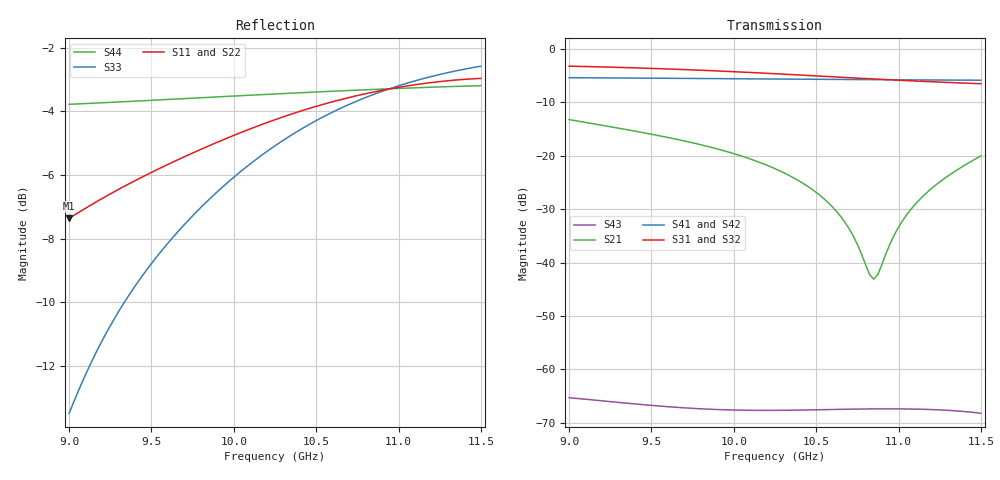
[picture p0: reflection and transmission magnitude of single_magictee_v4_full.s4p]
! Generated from PyAEDT SolutionData; AEDT ExportNetworkData workaround
# GHz S MA R 50
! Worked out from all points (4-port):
!   101 points, 9 GHz to 11.5 GHz, reference 50 ohm
!   strongest paths, dB at 9 GHz, 9.625 GHz, 10.25 GHz, 10.88 GHz, 11.5 GHz:
!     S31: -3.2, -3.8, -4.6, -5.6, -6.5
!     S32: -3.2, -3.8, -4.6, -5.6, -6.5
!     S41: -5.4, -5.5, -5.6, -5.7, -5.8
!     S42: -5.4, -5.5, -5.6, -5.7, -5.8
!     S21: -13.2, -16.7, -22.4, -42.2, -20.0
!     S43: -65.3, -67.0, -67.6, -67.4, -68.2
!   lowest |S11| = -7.4 dB at 9 GHz (marker M1), VSWR 2.50, Z = 68.8 + j52.4 ohm
!   |S11| at or under -10 dB: nowhere
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9  0.4286 46.5  0.2185 -137.9  0.6913 -70.5  0.5392 37.0
   0.2185 -137.9  0.4295 46.5  0.6908 -70.4  0.539 -142.9
   0.6913 -70.5  0.6908 -70.4  0.2119 -11.9  0.0005442 -34.3
   0.5392 37.0  0.539 -142.9  0.0005442 -34.3  0.6471 -150.9
9.525  0.5097 -13.7  0.1567 143.2  0.6568 -170.9  0.5332 -20.0
       0.1567 143.2  0.5103 -13.6  0.6565 -170.8  0.533 160.1
       0.6568 -170.9  0.6565 -170.8  0.3711 -157.6  0.000458 -128.8
       0.5332 -20.0  0.533 160.1  0.000458 -128.8  0.657 159.1
10.025  0.5819 -72.0  0.102 71.8  0.6111 99.0  0.5269 -72.2
        0.102 71.8  0.5824 -71.9  0.6109 99.1  0.5266 107.9
        0.6111 99.0  0.6109 99.1  0.5034 83.1  0.0004167 151.6
        0.5269 -72.2  0.5266 107.9  0.0004167 151.6  0.6671 113.0
10.45  0.6366 -122.0  0.05166 15.1  0.5657 25.8  0.5216 -115.3
       0.05166 15.1  0.6371 -121.9  0.5656 25.9  0.5211 64.8
       0.5657 25.8  0.5656 25.9  0.6001 -9.6  0.0004182 86.2
       0.5216 -115.3  0.5211 64.8  0.0004182 86.2  0.6756 74.5
10.85  0.6765 -169.3  0.007003 41.9  0.5245 -40.5  0.5169 -155.2
       0.007003 41.9  0.6771 -169.2  0.5243 -40.4  0.5163 24.9
       0.5245 -40.5  0.5243 -40.4  0.6708 -91.3  0.0004276 23.2
       0.5169 -155.2  0.5163 24.9  0.0004276 23.2  0.6828 38.6
11.2  0.6999 148.9  0.04945 75.0  0.4941 -97.3  0.5133 170.1
      0.04945 75.0  0.7006 149.1  0.4939 -97.2  0.5126 -9.8
      0.4941 -97.3  0.4939 -97.2  0.7155 -159.7  0.0004216 -33.1
      0.5133 170.1  0.5126 -9.8  0.0004216 -33.1  0.6883 7.4
11.5  0.7105 112.3  0.09998 37.1  0.4737 -146.1  0.5107 140.5
      0.09998 37.1  0.7111 112.5  0.4734 -146.0  0.5101 -39.4
      0.4737 -146.1  0.4734 -146.0  0.7426 143.0  0.0003888 -81.7
      0.5107 140.5  0.5101 -39.4  0.0003888 -81.7  0.6921 -19.3
